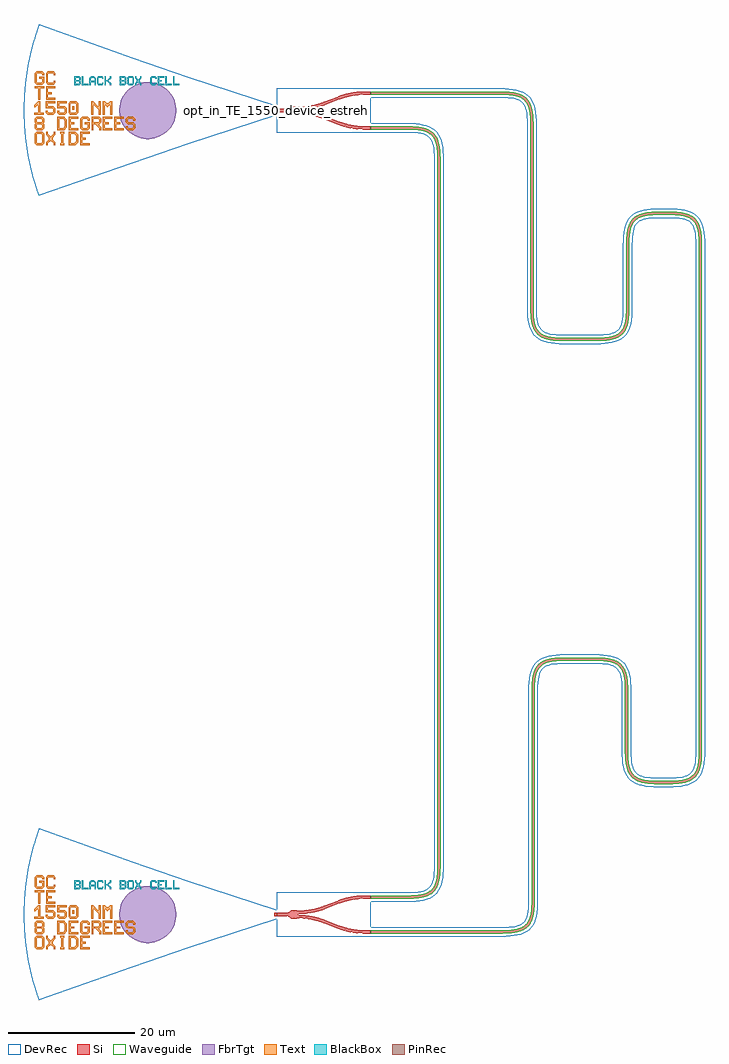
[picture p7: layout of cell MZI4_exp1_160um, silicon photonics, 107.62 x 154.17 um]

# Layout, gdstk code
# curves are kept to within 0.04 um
import gdstk
lib = gdstk.Library(unit=1e-6, precision=1e-09)
def R(c, l, rs):  # rectangles x0, y0, x1, y1
    for r in rs: c.add(gdstk.rectangle(r[:2], r[2:], *l))
def P(c, l, *ps):  # polygons
    for p in ps: c.add(gdstk.Polygon(p, *l))
Si = (1, 0)
PinRec = (1, 10)
Waveguide = (1, 99)
Text = (10, 0)
DevRec = (68, 0)
FbrTgt = (81, 0)
BlackBox = (998, 0)

text = lib.new_cell('TEXT')
P(text, BlackBox, [(13.2,0),(13.2,1.4),(14.2,1.4),(14.2,1.2),(13.4,1.2),(13.4,0.8),(13.8,0.8),(13.8,0.6),(13.4,0.6),(13.4,0.2),(14.2,0.2),(14.2,0)],
  [(9.6,0),(9.6,0.3),(9.9,0.6),(9.9,0.8),(9.6,1.1),(9.6,1.4),(9.8,1.4),(9.8,1.2),(10.1,0.9),(10.4,1.2),(10.4,1.4),(10.6,1.4),(10.6,1.1),(10.3,0.8),(10.3,0.6),(10.6,0.3),(10.6,0),(10.4,0),(10.4,0.2),(10.1,0.5),(9.8,0.2),(9.8,0)],
  [(8.6,0),(8.4,0.2),(8.4,1.2),(8.6,1.4),(9.2,1.4),(9.4,1.2),(9.4,0.7),(9.2,0.7),(9.2,1.1),(9.1,1.2),(8.7,1.2),(8.6,1.1),(8.6,0.3),(8.7,0.2),(9.1,0.2),(9.2,0.3),(9.2,0.7),(9.4,0.7),(9.4,0.2),(9.2,0)],
  [(4.8,0),(4.8,1.4),(5,1.4),(5,0.8),(5.2,0.8),(5.6,1.2),(5.6,1.4),(5.8,1.4),(5.8,1.1),(5.4,0.7),(5.8,0.3),(5.8,0),(5.6,0),(5.6,0.2),(5.2,0.6),(5,0.6),(5,0)],
  [(3.8,0),(3.6,0.2),(3.6,1.2),(3.8,1.4),(4.4,1.4),(4.6,1.2),(4.6,1),(4.4,1),(4.4,1.1),(4.3,1.2),(3.9,1.2),(3.8,1.1),(3.8,0.3),(3.9,0.2),(4.3,0.2),(4.4,0.3),(4.4,0.4),(4.6,0.4),(4.6,0.2),(4.4,0)],
  [(12.2,0),(12,0.2),(12,1.2),(12.2,1.4),(12.8,1.4),(13,1.2),(13,1),(12.8,1),(12.8,1.1),(12.7,1.2),(12.3,1.2),(12.2,1.1),(12.2,0.3),(12.3,0.2),(12.7,0.2),(12.8,0.3),(12.8,0.4),(13,0.4),(13,0.2),(12.8,0)],
  [(2.4,0),(2.4,1.1),(2.7,1.4),(3.1,1.4),(3.3,1.2),(2.8,1.2),(2.6,1),(2.6,0.7),(3.2,0.7),(3.2,1),(3,1.2),(3.3,1.2),(3.4,1.1),(3.4,0),(3.2,0),(3.2,0.5),(2.6,0.5),(2.6,0)],
  [(1.2,0),(1.2,1.4),(1.4,1.4),(1.4,0.2),(2.2,0.2),(2.2,0)],
  [(14.4,0),(14.4,1.4),(14.6,1.4),(14.6,0.2),(15.4,0.2),(15.4,0)],
  [(15.6,0),(15.6,1.4),(15.8,1.4),(15.8,0.2),(16.6,0.2),(16.6,0)],
  [(0,0),(0,1.4),(0.8,1.4),(1,1.2),(0.2,1.2),(0.2,0.8),(0.7,0.8),(0.8,0.9),(0.8,1.1),(0.7,1.2),(1,1.2),(1,0.8),(0.9,0.7),(1,0.6),(0.2,0.6),(0.2,0.2),(0.7,0.2),(0.8,0.3),(0.8,0.5),(0.7,0.6),(1,0.6),(1,0.2),(0.8,0)],
  [(7.2,0),(7.2,1.4),(8,1.4),(8.2,1.2),(7.4,1.2),(7.4,0.8),(7.9,0.8),(8,0.9),(8,1.1),(7.9,1.2),(8.2,1.2),(8.2,0.8),(8.1,0.7),(8.2,0.6),(7.4,0.6),(7.4,0.2),(7.9,0.2),(8,0.3),(8,0.5),(7.9,0.6),(8.2,0.6),(8.2,0.2),(8,0)])

gc_te_1550_8degoxide_bb = lib.new_cell('GC_TE_1550_8degOxide_BB')
R(gc_te_1550_8degoxide_bb, Si, [(-0.4,-0.25,0,0.25)])
R(gc_te_1550_8degoxide_bb, Text, [(-32.313,0.092,-32.013,0.692)])
P(gc_te_1550_8degoxide_bb, Text, [(-30.77,-3.09),(-31.07,-2.79),(-31.07,-1.29),(-30.77,-0.99),(-29.87,-0.99),(-29.57,-1.29),(-29.57,-1.59),(-29.87,-1.59),(-29.87,-1.44),(-30.02,-1.29),(-30.62,-1.29),(-30.77,-1.44),(-30.77,-2.64),(-30.62,-2.79),(-30.02,-2.79),(-29.87,-2.64),(-29.87,-2.19),(-30.32,-2.19),(-30.32,-1.89),(-29.57,-1.89),(-29.57,-2.79),(-29.87,-3.09)],
  [(-37.97,4.11),(-38.27,4.41),(-38.27,5.91),(-37.97,6.21),(-37.07,6.21),(-36.77,5.91),(-36.77,5.61),(-37.07,5.61),(-37.07,5.76),(-37.22,5.91),(-37.82,5.91),(-37.97,5.76),(-37.97,4.56),(-37.82,4.41),(-37.22,4.41),(-37.07,4.56),(-37.07,5.01),(-37.52,5.01),(-37.52,5.31),(-36.77,5.31),(-36.77,4.41),(-37.07,4.11)],
  [(-36.47,-5.49),(-36.47,-5.04),(-36.02,-4.59),(-36.02,-4.29),(-36.47,-3.84),(-36.47,-3.39),(-36.17,-3.39),(-36.17,-3.69),(-35.72,-4.14),(-35.27,-3.69),(-35.27,-3.39),(-34.97,-3.39),(-34.97,-3.84),(-35.42,-4.29),(-35.42,-4.59),(-34.97,-5.04),(-34.97,-5.49),(-35.27,-5.49),(-35.27,-5.19),(-35.72,-4.74),(-36.17,-5.19),(-36.17,-5.49)],
  [(-37.67,1.71),(-37.67,3.51),(-38.27,3.51),(-38.27,3.81),(-36.77,3.81),(-36.77,3.51),(-37.37,3.51),(-37.37,1.71)],
  [(-37.97,-5.49),(-38.27,-5.19),(-38.27,-3.69),(-37.97,-3.39),(-37.07,-3.39),(-36.77,-3.69),(-36.77,-4.44),(-37.07,-4.44),(-37.07,-3.84),(-37.22,-3.69),(-37.82,-3.69),(-37.97,-3.84),(-37.97,-5.04),(-37.82,-5.19),(-37.22,-5.19),(-37.07,-5.04),(-37.07,-4.44),(-36.77,-4.44),(-36.77,-5.19),(-37.07,-5.49)],
  [(-31.07,-5.49),(-31.07,-3.39),(-29.57,-3.39),(-29.57,-3.69),(-30.77,-3.69),(-30.77,-4.29),(-30.17,-4.29),(-30.17,-4.59),(-30.77,-4.59),(-30.77,-5.19),(-29.57,-5.19),(-29.57,-5.49)],
  [(-32.87,-3.09),(-32.87,-0.99),(-31.37,-0.99),(-31.37,-1.29),(-32.57,-1.29),(-32.57,-1.89),(-31.97,-1.89),(-31.97,-2.19),(-32.57,-2.19),(-32.57,-2.79),(-31.37,-2.79),(-31.37,-3.09)],
  [(-27.47,-3.09),(-27.47,-0.99),(-25.97,-0.99),(-25.97,-1.29),(-27.17,-1.29),(-27.17,-1.89),(-26.57,-1.89),(-26.57,-2.19),(-27.17,-2.19),(-27.17,-2.79),(-25.97,-2.79),(-25.97,-3.09)],
  [(-25.67,-3.09),(-25.67,-0.99),(-24.17,-0.99),(-24.17,-1.29),(-25.37,-1.29),(-25.37,-1.89),(-24.77,-1.89),(-24.77,-2.19),(-25.37,-2.19),(-25.37,-2.79),(-24.17,-2.79),(-24.17,-3.09)],
  [(-36.47,1.71),(-36.47,3.81),(-34.97,3.81),(-34.97,3.51),(-36.17,3.51),(-36.17,2.91),(-35.57,2.91),(-35.57,2.61),(-36.17,2.61),(-36.17,2.01),(-34.97,2.01),(-34.97,1.71)],
  [(-29.313,-0.658),(-29.313,1.442),(-29.013,1.442),(-28.263,0.692),(-28.113,0.692),(-28.113,1.442),(-27.813,1.442),(-27.813,-0.658),(-28.113,-0.658),(-28.113,0.092),(-28.863,0.842),(-29.013,0.842),(-29.013,-0.658)],
  [(-34.22,-5.49),(-34.22,-5.19),(-34.07,-5.19),(-34.07,-3.69),(-34.22,-3.69),(-34.22,-3.39),(-33.62,-3.39),(-33.62,-3.69),(-33.77,-3.69),(-33.77,-5.19),(-33.62,-5.19),(-33.62,-5.49)],
  [(-36.17,4.11),(-36.47,4.41),(-36.47,5.91),(-36.17,6.21),(-35.27,6.21),(-34.97,5.91),(-34.97,5.61),(-35.27,5.61),(-35.27,5.76),(-35.42,5.91),(-36.02,5.91),(-36.17,5.76),(-36.17,4.56),(-36.02,4.41),(-35.42,4.41),(-35.27,4.56),(-35.27,4.71),(-34.97,4.71),(-34.97,4.41),(-35.27,4.11)],
  [(-27.513,-0.658),(-27.513,1.442),(-27.213,1.442),(-26.913,1.142),(-26.613,1.142),(-26.313,1.442),(-26.013,1.442),(-26.013,-0.658),(-26.313,-0.658),(-26.313,0.842),(-26.463,0.842),(-26.763,0.542),(-27.063,0.842),(-27.213,0.842),(-27.213,-0.658)],
  [(-29.27,-3.09),(-29.27,-0.99),(-28.07,-0.99),(-27.77,-1.29),(-28.97,-1.29),(-28.97,-1.89),(-28.22,-1.89),(-28.07,-1.74),(-28.07,-1.44),(-28.22,-1.29),(-27.77,-1.29),(-27.77,-1.89),(-28.07,-2.19),(-28.07,-2.34),(-27.77,-2.64),(-27.77,-3.09),(-28.07,-3.09),(-28.07,-2.79),(-28.67,-2.19),(-28.97,-2.19),(-28.97,-3.09)],
  [(-32.613,-0.658),(-32.913,-0.358),(-32.913,1.142),(-32.613,1.442),(-31.713,1.442),(-31.413,1.142),(-32.463,1.142),(-32.613,0.992),(-32.613,-0.208),(-32.463,-0.358),(-31.863,-0.358),(-31.713,-0.208),(-31.713,0.992),(-31.863,1.142),(-31.413,1.142),(-31.413,-0.358),(-31.713,-0.658)],
  [(-37.97,-3.09),(-38.27,-2.79),(-38.27,-2.19),(-38.12,-2.04),(-38.27,-1.89),(-38.27,-1.29),(-37.97,-0.99),(-37.07,-0.99),(-36.77,-1.29),(-37.82,-1.29),(-37.97,-1.44),(-37.97,-1.74),(-37.82,-1.89),(-37.22,-1.89),(-37.07,-1.74),(-37.07,-1.44),(-37.22,-1.29),(-36.77,-1.29),(-36.77,-1.89),(-36.92,-2.04),(-36.77,-2.19),(-37.82,-2.19),(-37.97,-2.34),(-37.97,-2.64),(-37.82,-2.79),(-37.22,-2.79),(-37.07,-2.64),(-37.07,-2.34),(-37.22,-2.19),(-36.77,-2.19),(-36.77,-2.79),(-37.07,-3.09)],
  [(-32.87,-5.49),(-32.87,-3.39),(-31.82,-3.39),(-31.52,-3.69),(-32.57,-3.69),(-32.57,-5.19),(-31.97,-5.19),(-31.67,-4.89),(-31.67,-3.99),(-31.97,-3.69),(-31.52,-3.69),(-31.37,-3.84),(-31.37,-5.04),(-31.82,-5.49)],
  [(-34.67,-3.09),(-34.67,-0.99),(-33.62,-0.99),(-33.32,-1.29),(-34.37,-1.29),(-34.37,-2.79),(-33.77,-2.79),(-33.47,-2.49),(-33.47,-1.59),(-33.77,-1.29),(-33.32,-1.29),(-33.17,-1.44),(-33.17,-2.64),(-33.62,-3.09)],
  [(-36.213,-0.658),(-36.513,-0.358),(-36.513,-0.058),(-36.213,-0.058),(-36.213,-0.208),(-36.063,-0.358),(-35.463,-0.358),(-35.313,-0.208),(-35.313,0.242),(-35.463,0.392),(-36.513,0.392),(-36.513,1.442),(-35.013,1.442),(-35.013,1.142),(-36.213,1.142),(-36.213,0.692),(-35.313,0.692),(-35.013,0.392),(-35.013,-0.358),(-35.313,-0.658)],
  [(-34.413,-0.658),(-34.713,-0.358),(-34.713,-0.058),(-34.413,-0.058),(-34.413,-0.208),(-34.263,-0.358),(-33.663,-0.358),(-33.513,-0.208),(-33.513,0.242),(-33.663,0.392),(-34.713,0.392),(-34.713,1.442),(-33.213,1.442),(-33.213,1.142),(-34.413,1.142),(-34.413,0.692),(-33.513,0.692),(-33.213,0.392),(-33.213,-0.358),(-33.513,-0.658)],
  [(-23.57,-3.09),(-23.87,-2.79),(-23.87,-2.49),(-23.57,-2.49),(-23.57,-2.64),(-23.42,-2.79),(-22.82,-2.79),(-22.67,-2.64),(-22.67,-2.34),(-22.82,-2.19),(-23.57,-2.19),(-23.87,-1.89),(-23.87,-1.29),(-23.57,-0.99),(-22.67,-0.99),(-22.37,-1.29),(-22.37,-1.59),(-22.67,-1.59),(-22.67,-1.44),(-22.82,-1.29),(-23.42,-1.29),(-23.57,-1.44),(-23.57,-1.74),(-23.42,-1.89),(-22.67,-1.89),(-22.37,-2.19),(-22.37,-2.79),(-22.67,-3.09)],
  [(-38.313,-0.658),(-38.313,-0.358),(-37.713,-0.358),(-37.713,0.842),(-37.863,0.842),(-38.163,0.542),(-38.313,0.542),(-38.313,0.842),(-37.713,1.442),(-37.413,1.442),(-37.413,-0.358),(-36.813,-0.358),(-36.813,-0.658)])
P(gc_te_1550_8degoxide_bb, DevRec, [(-37.607,-13.5),(-38.627,-10.245),(-39.378,-6.832),(-39.647,-5.058),(-39.835,-3.274),(-39.969,0.224),(-39.812,3.541),(-39.331,7.097),(-38.557,10.505),(-37.546,13.669),(-22.8,8.353),(-14.109,5.36),(0,0.75),(0,-0.75),(-14.109,-5.36)])
P(gc_te_1550_8degoxide_bb, FbrTgt, [(-20.621,-4.5),(-21.495,-4.37),(-22.326,-4.073),(-23.084,-3.619),(-23.738,-3.026),(-24.264,-2.316),(-24.642,-1.518),(-24.857,-0.661),(-24.9,0.221),(-24.77,1.095),(-24.473,1.926),(-24.019,2.684),(-23.426,3.338),(-22.716,3.864),(-21.918,4.242),(-21.061,4.457),(-20.179,4.5),(-19.305,4.37),(-18.474,4.073),(-17.716,3.619),(-17.062,3.026),(-16.536,2.316),(-16.158,1.518),(-15.943,0.661),(-15.9,-0.221),(-16.03,-1.095),(-16.327,-1.926),(-16.781,-2.684),(-17.374,-3.338),(-18.084,-3.864),(-18.882,-4.242),(-19.739,-4.457)])
gc_te_1550_8degoxide_bb.add(gdstk.FlexPath([(-0.01,0),(0.01,0)], 0.5, ends="flush", simple_path=True, layer=1, datatype=10))  # PinRec
gc_te_1550_8degoxide_bb.add(gdstk.Reference(text, (-32,4)))
gc_te_1550_8degoxide_bb.add(gdstk.Label('opt1', (0,0), layer=1, texttype=10))
gc_te_1550_8degoxide_bb.add(gdstk.Label('Component=GC_TE_1550_8degOxide_BB', (-28,-5), layer=68, texttype=0))
gc_te_1550_8degoxide_bb.add(gdstk.Label('Lumerical_INTERCONNECT_library=Design kits/ebeam', (-29,-7), layer=68, texttype=0))

ebeam_y_1550 = lib.new_cell('ebeam_y_1550')
R(ebeam_y_1550, Si, [(6.5,-3,7.4,-2.5), (-7.4,-0.25,-6,0.25), (6.5,2.5,7.4,3)])
P(ebeam_y_1550, Si, [(6.458,-3),(6.237,-2.997),(6.237,-2.497),(6.5,-2.5),(6.5,-3)],
  [(2.265,-2.21),(0.055,-1.356),(0.235,-0.89),(2.445,-1.744)],
  [(5.033,-2.908),(3.59,-2.634),(2.265,-2.21),(2.445,-1.744),(3.731,-2.154),(5.033,-2.404)],
  [(-0.762,0.555),(-0.762,1.076),(0.055,1.356),(0.235,0.89)],
  [(-5.122,-0.662),(-5.442,-0.374),(-5.808,-0.255),(-6,-0.25),(-6,0.25),(-5.817,0.253),(-5.442,0.374),(-5.122,0.662)],
  [(-4.957,-0.703),(-5.122,-0.662),(-5.122,0.662),(-4.538,0.703),(-4,0.6),(-4,-0.6),(-4.509,-0.701)],
  [(0.055,-1.356),(-0.762,-1.076),(-0.762,-0.555),(0.235,-0.89)],
  [(6.237,2.497),(6.237,2.997),(6.5,3),(6.5,2.5)],
  [(-0.762,-1.076),(-2.334,-0.724),(-4,-0.6),(-4,-0.1),(-2.381,-0.212),(-0.762,-0.555)],
  [(5.033,2.404),(5.033,2.908),(6.237,2.997),(6.237,2.497)],
  [(6.233,-2.997),(5.033,-2.908),(5.033,-2.404),(6.237,-2.497)],
  [(0.235,0.89),(0.055,1.356),(2.265,2.21),(2.445,1.744)],
  [(2.445,1.744),(2.267,2.211),(3.59,2.634),(5.033,2.908),(5.033,2.404),(3.731,2.154)],
  [(-4,0.1),(-4,0.6),(-2.334,0.724),(-0.762,1.076),(-0.762,0.555),(-2.381,0.212)])
R(ebeam_y_1550, DevRec, [(-7.4,-3.5,7.4,3.5)])
ebeam_y_1550.add(gdstk.FlexPath([(7.35,-2.75),(7.45,-2.75)], 0.5, ends="flush", simple_path=True, layer=1, datatype=10))  # PinRec
ebeam_y_1550.add(gdstk.FlexPath([(7.35,2.75),(7.45,2.75)], 0.5, ends="flush", simple_path=True, layer=1, datatype=10))  # PinRec
ebeam_y_1550.add(gdstk.FlexPath([(-7.35,0),(-7.45,0)], 0.5, ends="flush", simple_path=True, layer=1, datatype=10))  # PinRec
ebeam_y_1550.add(gdstk.Label('opt1', (-7.4,0), layer=1, texttype=10))
ebeam_y_1550.add(gdstk.Label('opt3', (7.4,-2.75), layer=1, texttype=10))
ebeam_y_1550.add(gdstk.Label('opt2', (7.4,2.75), layer=1, texttype=10))
ebeam_y_1550.add(gdstk.Label('Lumerical_INTERCONNECT_library=Design kits/ebeam', (-6.86,-2.19), layer=68, texttype=0))
ebeam_y_1550.add(gdstk.Label('Component=ebeam_y_1550', (-6,1.5), layer=68, texttype=0))
ebeam_y_1550.add(gdstk.Label('Ref: Y Zhang, Opt. Express, 21/1, 2013', (-7.5,-1), layer=10, texttype=0))

waveguide_3 = lib.new_cell('Waveguide$3')
P(waveguide_3, Si, [(14.8,2.5),(14.8,3),(21.431,3.017),(22.646,3.137),(23.583,3.389),(24.269,3.784),(24.567,4.082),(24.811,4.446),(25.156,5.408),(25.324,6.728),(25.352,119.25),(25.299,120.635),(25.088,121.862),(24.696,122.743),(24.425,123.073),(24.096,123.343),(23.344,123.696),(22.492,123.887),(21.234,123.99),(14.8,124),(14.8,124.5),(21.652,124.472),(22.733,124.354),(23.635,124.125),(24.374,123.759),(24.869,123.332),(25.25,122.793),(25.568,122),(25.758,121.04),(25.843,119.897),(25.824,6.7),(25.644,5.3),(25.477,4.717),(25.249,4.206),(24.684,3.483),(24.262,3.169),(23.769,2.925),(22.732,2.645),(21.453,2.517)])
P(waveguide_3, Waveguide, [(14.8,2.5),(14.8,3),(21.431,3.017),(22.646,3.137),(23.583,3.389),(24.269,3.784),(24.567,4.082),(24.811,4.446),(25.156,5.408),(25.324,6.728),(25.352,119.25),(25.299,120.635),(25.088,121.862),(24.696,122.743),(24.425,123.073),(24.096,123.343),(23.344,123.696),(22.492,123.887),(21.234,123.99),(14.8,124),(14.8,124.5),(21.652,124.472),(22.733,124.354),(23.635,124.125),(24.374,123.759),(24.869,123.332),(25.25,122.793),(25.568,122),(25.758,121.04),(25.843,119.897),(25.824,6.7),(25.644,5.3),(25.477,4.717),(25.249,4.206),(24.684,3.483),(24.262,3.169),(23.769,2.925),(22.732,2.645),(21.453,2.517)])
P(waveguide_3, DevRec, [(14.8,2),(14.8,3.5),(21.251,3.51),(22.346,3.597),(23.497,3.895),(23.977,4.192),(24.159,4.374),(24.456,4.854),(24.676,5.556),(24.809,6.519),(24.852,7.75),(24.852,119.25),(24.81,120.48),(24.677,121.443),(24.317,122.408),(24.16,122.625),(23.761,122.964),(23.178,123.224),(22.347,123.402),(21.252,123.489),(14.8,123.5),(14.8,125),(21.953,124.953),(23.112,124.79),(24.112,124.472),(24.952,123.947),(25.3,123.599),(25.591,123.2),(26.007,122.277),(26.241,121.202),(26.342,119.951),(26.352,7.75),(26.305,6.399),(26.142,5.24),(26.006,4.722),(25.59,3.799),(24.951,3.052),(24.111,2.527),(23.111,2.209),(21.952,2.046)])
waveguide_3.add(gdstk.FlexPath([(14.81,2.75),(14.79,2.75)], 0.5, ends="flush", simple_path=True, layer=1, datatype=10))  # PinRec
waveguide_3.add(gdstk.FlexPath([(14.81,124.25),(14.79,124.25)], 0.5, ends="flush", simple_path=True, layer=1, datatype=10))  # PinRec
waveguide_3.add(gdstk.Label('opt2', (14.8,124.25), layer=1, texttype=10))
waveguide_3.add(gdstk.Label('opt1', (14.8,2.75), layer=1, texttype=10))
waveguide_3.add(gdstk.Label('Length=140.001 (microns)', (14.8,2.15), layer=68, texttype=0))
waveguide_3.add(gdstk.Label('Spice_param:wg_length=0.000140001 wg_width=5e-07 points="[[14.8,2.75],[25.602,2.75],[25.602,124.25],[14.8,124.25]]" radius=5e-06', (14.8,2.75), layer=68, texttype=0))
waveguide_3.add(gdstk.Label('waveguide_type=Strip TE 1550 nm, w=500 nm', (14.8,2.55), layer=68, texttype=0))
waveguide_3.add(gdstk.Label('cellName=Waveguide', (14.8,2.95), layer=68, texttype=0))
waveguide_3.add(gdstk.Label('Component=ebeam_wg_integral_1550', (14.8,2.85), layer=68, texttype=0))
waveguide_3.add(gdstk.Label('Lumerical_INTERCONNECT_library=Design kits/EBeam', (14.8,2.65), layer=68, texttype=0))

waveguide_8 = lib.new_cell('Waveguide$8')
P(waveguide_8, Si, [(54.769,-143.669),(54.769,-143.169),(76.657,-143.13),(77.792,-142.973),(78.544,-142.732),(79.118,-142.384),(79.603,-141.819),(79.856,-141.283),(80.035,-140.615),(80.196,-138.846),(80.228,-104.27),(80.408,-102.87),(80.74,-101.897),(81.273,-101.143),(82.028,-100.609),(83.001,-100.277),(84.401,-100.097),(91.25,-100.098),(92.331,-100.216),(93.233,-100.445),(93.972,-100.811),(94.552,-101.337),(94.911,-101.898),(95.166,-102.57),(95.332,-103.357),(95.423,-104.271),(95.452,-115.027),(95.541,-116.539),(95.679,-117.29),(95.938,-118.011),(96.235,-118.478),(96.707,-118.904),(97.107,-119.124),(97.721,-119.332),(98.994,-119.522),(102.5,-119.55),(104.21,-119.364),(105.172,-119.019),(105.765,-118.556),(106.182,-117.903),(106.481,-116.854),(106.58,-116.016),(106.618,-114.81),(106.618,-34.9),(106.564,-33.514),(106.353,-32.287),(105.961,-31.406),(105.691,-31.077),(105.361,-30.806),(104.48,-30.414),(103.253,-30.203),(99.962,-30.155),(98.345,-30.288),(97.648,-30.454),(97.086,-30.691),(96.722,-30.935),(96.359,-31.318),(96.076,-31.807),(95.868,-32.421),(95.667,-33.879),(95.638,-45.043),(95.545,-46.611),(95.355,-47.571),(95.1,-48.243),(94.656,-48.903),(94.161,-49.33),(93.687,-49.59),(93.14,-49.786),(91.821,-50.015),(90.611,-50.069),(85.26,-50.07),(83.828,-50.014),(82.81,-49.862),(81.962,-49.589),(81.379,-49.252),(80.827,-48.7),(80.435,-47.987),(80.185,-47.112),(80.037,-45.869),(80.005,-15.491),(79.956,-14.533),(79.814,-13.577),(79.62,-12.937),(79.353,-12.425),(78.842,-11.888),(78.124,-11.513),(77.149,-11.281),(76.089,-11.186),(54.769,-11.169),(54.769,-10.669),(75.481,-10.67),(77.39,-10.814),(78.153,-10.996),(78.682,-11.208),(79.14,-11.486),(79.526,-11.836),(79.84,-12.258),(80.135,-12.886),(80.302,-13.469),(80.436,-14.305),(80.51,-15.919),(80.519,-45.451),(80.622,-46.709),(80.854,-47.684),(81.166,-48.313),(81.677,-48.85),(82.166,-49.133),(82.647,-49.305),(84.053,-49.531),(91.021,-49.561),(92.279,-49.458),(93.131,-49.267),(93.883,-48.914),(94.355,-48.488),(94.652,-48.021),(94.875,-47.433),(95.027,-46.71),(95.112,-45.842),(95.141,-34.679),(95.234,-33.11),(95.424,-32.15),(95.679,-31.478),(96.123,-30.818),(96.618,-30.391),(97.092,-30.131),(97.639,-29.935),(98.958,-29.706),(102.305,-29.654),(103.998,-29.795),(105.035,-30.075),(105.851,-30.548),(106.448,-31.239),(106.833,-32.149),(107.044,-33.286),(107.118,-34.9),(107.118,-114.81),(107.078,-116.052),(106.973,-116.94),(106.638,-118.107),(106.135,-118.892),(105.412,-119.457),(104.901,-119.685),(104.318,-119.852),(103.482,-119.986),(102.516,-120.05),(98.958,-120.02),(97.45,-119.776),(96.903,-119.58),(96.429,-119.32),(95.934,-118.893),(95.49,-118.233),(95.235,-117.561),(95.045,-116.601),(94.952,-115.033),(94.923,-104.299),(94.838,-103.431),(94.686,-102.708),(94.463,-102.12),(94.166,-101.653),(93.694,-101.227),(93.065,-100.915),(92.09,-100.683),(91.03,-100.588),(84.429,-100.597),(83.109,-100.765),(82.25,-101.057),(81.868,-101.289),(81.554,-101.573),(81.137,-102.226),(80.866,-103.123),(80.728,-104.298),(80.696,-138.856),(80.627,-140.032),(80.493,-140.868),(80.275,-141.586),(79.96,-142.19),(79.331,-142.851),(78.618,-143.243),(77.743,-143.493),(76.5,-143.641)])
P(waveguide_8, Waveguide, [(54.769,-143.669),(54.769,-143.169),(76.657,-143.13),(77.792,-142.973),(78.544,-142.732),(79.118,-142.384),(79.603,-141.819),(79.856,-141.283),(80.035,-140.615),(80.196,-138.846),(80.228,-104.27),(80.408,-102.87),(80.74,-101.897),(81.273,-101.143),(82.028,-100.609),(83.001,-100.277),(84.401,-100.097),(91.25,-100.098),(92.331,-100.216),(93.233,-100.445),(93.972,-100.811),(94.552,-101.337),(94.911,-101.898),(95.166,-102.57),(95.332,-103.357),(95.423,-104.271),(95.452,-115.027),(95.541,-116.539),(95.679,-117.29),(95.938,-118.011),(96.235,-118.478),(96.707,-118.904),(97.107,-119.124),(97.721,-119.332),(98.994,-119.522),(102.5,-119.55),(104.21,-119.364),(105.172,-119.019),(105.765,-118.556),(106.182,-117.903),(106.481,-116.854),(106.58,-116.016),(106.618,-114.81),(106.618,-34.9),(106.564,-33.514),(106.353,-32.287),(105.961,-31.406),(105.691,-31.077),(105.361,-30.806),(104.48,-30.414),(103.253,-30.203),(99.962,-30.155),(98.345,-30.288),(97.648,-30.454),(97.086,-30.691),(96.722,-30.935),(96.359,-31.318),(96.076,-31.807),(95.868,-32.421),(95.667,-33.879),(95.638,-45.043),(95.545,-46.611),(95.355,-47.571),(95.1,-48.243),(94.656,-48.903),(94.161,-49.33),(93.687,-49.59),(93.14,-49.786),(91.821,-50.015),(90.611,-50.069),(85.26,-50.07),(83.828,-50.014),(82.81,-49.862),(81.962,-49.589),(81.379,-49.252),(80.827,-48.7),(80.435,-47.987),(80.185,-47.112),(80.037,-45.869),(80.005,-15.491),(79.956,-14.533),(79.814,-13.577),(79.62,-12.937),(79.353,-12.425),(78.842,-11.888),(78.124,-11.513),(77.149,-11.281),(76.089,-11.186),(54.769,-11.169),(54.769,-10.669),(75.481,-10.67),(77.39,-10.814),(78.153,-10.996),(78.682,-11.208),(79.14,-11.486),(79.526,-11.836),(79.84,-12.258),(80.135,-12.886),(80.302,-13.469),(80.436,-14.305),(80.51,-15.919),(80.519,-45.451),(80.622,-46.709),(80.854,-47.684),(81.166,-48.313),(81.677,-48.85),(82.166,-49.133),(82.647,-49.305),(84.053,-49.531),(91.021,-49.561),(92.279,-49.458),(93.131,-49.267),(93.883,-48.914),(94.355,-48.488),(94.652,-48.021),(94.875,-47.433),(95.027,-46.71),(95.112,-45.842),(95.141,-34.679),(95.234,-33.11),(95.424,-32.15),(95.679,-31.478),(96.123,-30.818),(96.618,-30.391),(97.092,-30.131),(97.639,-29.935),(98.958,-29.706),(102.305,-29.654),(103.998,-29.795),(105.035,-30.075),(105.851,-30.548),(106.448,-31.239),(106.833,-32.149),(107.044,-33.286),(107.118,-34.9),(107.118,-114.81),(107.078,-116.052),(106.973,-116.94),(106.638,-118.107),(106.135,-118.892),(105.412,-119.457),(104.901,-119.685),(104.318,-119.852),(103.482,-119.986),(102.516,-120.05),(98.958,-120.02),(97.45,-119.776),(96.903,-119.58),(96.429,-119.32),(95.934,-118.893),(95.49,-118.233),(95.235,-117.561),(95.045,-116.601),(94.952,-115.033),(94.923,-104.299),(94.838,-103.431),(94.686,-102.708),(94.463,-102.12),(94.166,-101.653),(93.694,-101.227),(93.065,-100.915),(92.09,-100.683),(91.03,-100.588),(84.429,-100.597),(83.109,-100.765),(82.25,-101.057),(81.868,-101.289),(81.554,-101.573),(81.137,-102.226),(80.866,-103.123),(80.728,-104.298),(80.696,-138.856),(80.627,-140.032),(80.493,-140.868),(80.275,-141.586),(79.96,-142.19),(79.331,-142.851),(78.618,-143.243),(77.743,-143.493),(76.5,-143.641)])
P(waveguide_8, DevRec, [(54.769,-144.169),(54.769,-142.669),(76.1,-142.658),(77.195,-142.571),(78.026,-142.393),(78.609,-142.133),(78.826,-141.976),(79.165,-141.577),(79.525,-140.612),(79.69,-139.068),(79.7,-105.32),(79.747,-103.969),(79.91,-102.81),(80.228,-101.81),(80.753,-100.97),(81.5,-100.331),(82.423,-99.915),(82.941,-99.779),(84.1,-99.616),(90.202,-99.57),(91.551,-99.617),(92.71,-99.78),(93.71,-100.098),(94.151,-100.332),(94.55,-100.623),(95.189,-101.37),(95.605,-102.293),(95.839,-103.368),(95.95,-105.319),(95.961,-115.46),(96.126,-117.004),(96.346,-117.706),(96.643,-118.186),(97.042,-118.525),(97.625,-118.785),(98.97,-119.018),(102.518,-119.049),(104.062,-118.884),(104.764,-118.664),(105.244,-118.367),(105.426,-118.185),(105.723,-117.705),(105.843,-117.385),(106.021,-116.554),(106.118,-114.81),(106.118,-34.9),(106.02,-33.155),(105.722,-32.004),(105.425,-31.524),(105.243,-31.342),(104.763,-31.045),(103.612,-30.747),(102.517,-30.66),(99.74,-30.661),(98.196,-30.826),(97.231,-31.186),(97.014,-31.343),(96.675,-31.742),(96.315,-32.707),(96.15,-34.251),(96.14,-44.821),(96.028,-46.773),(95.794,-47.848),(95.612,-48.33),(95.087,-49.17),(94.739,-49.518),(94.34,-49.809),(93.417,-50.225),(92.342,-50.459),(91.091,-50.56),(84.558,-50.559),(82.75,-50.36),(81.75,-50.042),(80.91,-49.517),(80.271,-48.77),(79.855,-47.847),(79.719,-47.329),(79.556,-46.17),(79.51,-44.82),(79.499,-15.269),(79.334,-13.725),(78.974,-12.76),(78.817,-12.543),(78.418,-12.204),(77.835,-11.944),(77.004,-11.766),(75.909,-11.679),(54.769,-11.669),(54.769,-10.169),(75.26,-10.169),(77.212,-10.28),(78.287,-10.514),(78.769,-10.696),(79.609,-11.221),(79.957,-11.569),(80.482,-12.409),(80.664,-12.891),(80.898,-13.966),(81.01,-15.919),(81.02,-45.469),(81.107,-46.564),(81.285,-47.395),(81.545,-47.978),(81.702,-48.195),(82.101,-48.534),(83.066,-48.894),(84.029,-49.027),(91.039,-49.06),(92.134,-48.973),(92.965,-48.795),(93.548,-48.535),(93.947,-48.196),(94.244,-47.716),(94.464,-47.014),(94.629,-45.47),(94.64,-34.899),(94.751,-32.948),(94.985,-31.873),(95.401,-30.95),(95.692,-30.551),(96.439,-29.912),(97.362,-29.496),(97.88,-29.36),(99.039,-29.197),(102.569,-29.16),(104.377,-29.359),(105.377,-29.677),(106.217,-30.202),(106.856,-30.949),(107.272,-31.872),(107.506,-32.947),(107.618,-34.9),(107.618,-114.81),(107.507,-116.762),(107.273,-117.837),(107.091,-118.319),(106.566,-119.159),(105.819,-119.798),(104.896,-120.214),(104.378,-120.35),(103.219,-120.513),(99.499,-120.55),(97.691,-120.351),(96.691,-120.033),(96.25,-119.799),(95.851,-119.508),(95.212,-118.761),(94.796,-117.838),(94.562,-116.763),(94.45,-114.811),(94.44,-104.671),(94.275,-103.127),(94.055,-102.425),(93.758,-101.945),(93.359,-101.606),(92.776,-101.346),(91.945,-101.168),(90.85,-101.081),(84.801,-101.08),(83.706,-101.167),(82.555,-101.465),(82.075,-101.762),(81.893,-101.944),(81.596,-102.424),(81.298,-103.575),(81.211,-104.67),(81.19,-139.12),(80.991,-140.928),(80.673,-141.928),(80.439,-142.369),(79.8,-143.116),(78.96,-143.641),(77.96,-143.959),(76.801,-144.122),(75.45,-144.169)])
waveguide_8.add(gdstk.FlexPath([(54.779,-143.419),(54.759,-143.419)], 0.5, ends="flush", simple_path=True, layer=1, datatype=10))  # PinRec
waveguide_8.add(gdstk.FlexPath([(54.779,-10.919),(54.759,-10.919)], 0.5, ends="flush", simple_path=True, layer=1, datatype=10))  # PinRec
waveguide_8.add(gdstk.Label('opt2', (54.769,-143.419), layer=1, texttype=10))
waveguide_8.add(gdstk.Label('opt1', (54.769,-10.919), layer=1, texttype=10))
waveguide_8.add(gdstk.Label('Length=300.001 (microns)', (54.769,-11.519), layer=68, texttype=0))
waveguide_8.add(gdstk.Label('waveguide_type=Strip TE 1550 nm, w=500 nm', (54.769,-11.119), layer=68, texttype=0))
waveguide_8.add(gdstk.Label('cellName=Waveguide', (54.769,-10.719), layer=68, texttype=0))
waveguide_8.add(gdstk.Label('Component=ebeam_wg_integral_1550', (54.769,-10.819), layer=68, texttype=0))
waveguide_8.add(gdstk.Label('Lumerical_INTERCONNECT_library=Design kits/EBeam', (54.769,-11.019), layer=68, texttype=0))

mzi4_exp1_160um = lib.new_cell('MZI4_exp1_160um')
mzi4_exp1_160um.add(gdstk.Reference(gc_te_1550_8degoxide_bb, (39.969,-140.669)))
mzi4_exp1_160um.add(gdstk.Reference(gc_te_1550_8degoxide_bb, (39.969,-13.669)))
mzi4_exp1_160um.add(gdstk.Reference(ebeam_y_1550, (47.369,-140.669)))
mzi4_exp1_160um.add(gdstk.Reference(ebeam_y_1550, (47.369,-13.669)))
mzi4_exp1_160um.add(gdstk.Reference(waveguide_3, (39.969,-140.669)))
mzi4_exp1_160um.add(gdstk.Reference(waveguide_8, (0,0)))
mzi4_exp1_160um.add(gdstk.Label('opt_in_TE_1550_device_estrehlo_MZI4', (39.969,-13.669), layer=10, texttype=0))

lib.write_gds('MZI4_exp1_160um.gds')
